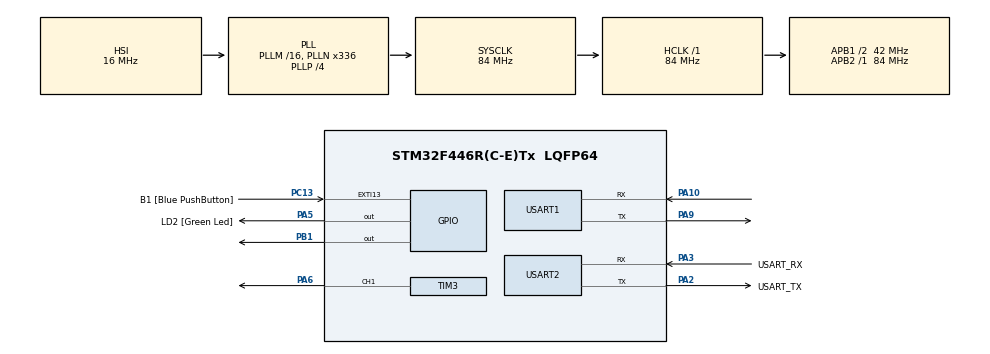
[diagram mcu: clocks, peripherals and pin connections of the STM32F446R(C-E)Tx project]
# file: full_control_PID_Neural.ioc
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Mcu.Family=STM32F4
Mcu.Name=STM32F446R(C-E)Tx
Mcu.Package=LQFP64
NVIC.PriorityGroup=NVIC_PRIORITYGROUP_0
NVIC.USART1_IRQn=true\:0\:0\:false\:false\:true\:true\:true\:true
NVIC.USART2_IRQn=true\:0\:0\:false\:false\:true\:true\:true\:true
PA10.Mode=Asynchronous
PA10.Signal=USART1_RX
PA13.GPIO_Label=TMS
PA13.Mode=Serial_Wire
PA13.Signal=SYS_JTMS-SWDIO
PA14.GPIO_Label=TCK
PA14.Mode=Serial_Wire
PA14.Signal=SYS_JTCK-SWCLK
PA2.GPIO_Label=USART_TX
PA2.Mode=Asynchronous
PA2.Signal=USART2_TX
PA3.GPIO_Label=USART_RX
PA3.Mode=Asynchronous
PA3.Signal=USART2_RX
PA5.GPIO_Label=LD2 [Green Led]
PA5.Signal=GPIO_Output
PA6.Signal=S_TIM3_CH1
PA9.Mode=Asynchronous
PA9.Signal=USART1_TX
PB1.Signal=GPIO_Output
PB3.GPIO_Label=SWO
PB3.Signal=SYS_JTDO-SWO
PC13.GPIO_Label=B1 [Blue PushButton]
PC13.GPIO_ModeDefaultEXTI=GPIO_MODE_IT_FALLING
PC13.Signal=GPXTI13
PC14-OSC32_IN.Mode=LSE-External-Oscillator
PC14-OSC32_IN.Signal=RCC_OSC32_IN
PC15-OSC32_OUT.Mode=LSE-External-Oscillator
PC15-OSC32_OUT.Signal=RCC_OSC32_OUT
PH0-OSC_IN.Mode=HSE-External-Oscillator
PH0-OSC_IN.Signal=RCC_OSC_IN
PH1-OSC_OUT.Mode=HSE-External-Oscillator
PH1-OSC_OUT.Signal=RCC_OSC_OUT
ProjectManager.HeapSize=0x200
ProjectManager.StackSize=0x400
ProjectManager.TargetToolchain=STM32CubeIDE
RCC.48MHZClocksFreq_Value=84000000
RCC.AHBFreq_Value=84000000
RCC.APB1CLKDivider=RCC_HCLK_DIV2
RCC.APB1Freq_Value=42000000
RCC.APB1TimFreq_Value=84000000
RCC.APB2Freq_Value=84000000
RCC.APB2TimFreq_Value=84000000
RCC.CortexFreq_Value=84000000
RCC.FLatency-AdvancedSettings=FLASH_LATENCY_2
RCC.HCLKFreq_Value=84000000
RCC.HSE_VALUE=8000000
RCC.HSI_VALUE=16000000
RCC.PLLN=336
RCC.PLLP=RCC_PLLP_DIV4
RCC.SYSCLKFreq_VALUE=84000000
RCC.SYSCLKSource=RCC_SYSCLKSOURCE_PLLCLK
RCC.USBFreq_Value=168000000
RCC.VCOOutputFreq_Value=336000000
SH.S_TIM3_CH1.0=TIM3_CH1,PWM Generation1 CH1
TIM3.Channel-PWM\ Generation1\ CH1=TIM_CHANNEL_1
TIM3.Period=999
TIM3.Prescaler=84 - 1
USART1.VirtualMode=VM_ASYNC
USART2.VirtualMode=VM_ASYNC
board=NUCLEO-F446RE

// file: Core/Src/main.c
/* USER CODE BEGIN Header */
/**
  ******************************************************************************
  * @file           : main.c
  * @brief          : Main program body
  ******************************************************************************
  * @attention
  *
  * Copyright (c) 2025 STMicroelectronics.
  * All rights reserved.
  *
  * This software is licensed under terms that can be found in the LICENSE file
  * in the root directory of this software component.
  * If no LICENSE file comes with this software, it is provided AS-IS.
  *
  ******************************************************************************
  */
/* USER CODE END Header */
#include "main.h"
#include <stdio.h>
#include <stdlib.h>
#include <string.h>
#include <math.h>

TIM_HandleTypeDef htim3;

UART_HandleTypeDef huart1;
UART_HandleTypeDef huart2;

/* USER CODE BEGIN PV */
uint8_t rx_index=0;
uint8_t rx_data[32];
uint8_t rx_buffer[32];
uint8_t transfer_cplt;
uint8_t data_received = 0;

#define PWM_PERIOD_MS 20.0f   // 20ms period (50Hz)
#define PWM_MIN 20.0f         // 20% duty cycle minimum
#define PWM_MAX 100.0f        // 100% duty cycle maximum

#define LEARNING_RATE 0.01f

float cmd_vel = 0.0f;           // Desired velocity (from Jetson)
float imu_vel = 0.0f;           // Current velocity (from Jetson)
float pwm_duty = 0.0f;         // Start with 50% duty cycle
float step_size = 1.0f;         // PWM adjustment step size
float tolerance = 0.5f;         // Acceptable velocity error (km/h)
float error=0.0f;
float more=0.0f;
float less=0.0f;
float equal=0.0f;

static char adjust[10]; // Global/static variable

// PID Constants (TUNE THESE)
float Kp = 1.5f;   // Proportional gain
float Ki = 0.01f;   // Integral gain
float Kd = 0.2f;   // Derivative gain

// PID variables
float prev_error = 0.0f;
float integral = 0.0f;

// NN Weights for Adaptive PID
float w1 = 0.5f, w2 = 0.3f, w3 = 0.2f;
float w4 = 0.4f, w5 = 0.3f, w6 = 0.2f;
float w7 = 0.6f, w8 = 0.4f, w9 = 0.2f;

float h1 = 0;
    float h2 = 0;
    float h3 = 0;
/* USER CODE END PV */

void SystemClock_Config(void);
static void MX_GPIO_Init(void);
static void MX_USART2_UART_Init(void);
static void MX_USART1_UART_Init(void);
static void MX_TIM3_Init(void);

/* USER CODE BEGIN PFP */
float compute_pid(float error);
void update_pid_gains(float error, float derivative, float integral);

void process_uart_data();
void set_pwm(float duty_cycle);

void set_direction(int direction); // Set motor direction (1 = forward, 0 = reverse)
/* USER CODE END PFP */

/* USER CODE BEGIN 0 */
/* ======= Fuzzy Membership Functions ======= */
// Neural Activation Function (Sigmoid)
float sigmoid(float x) {
    return 1.0f / (1.0f + expf(-x));
}

/* ======= PID Controller Function ======= */

// Compute PID Output
float compute_pid(float error) {
    float derivative = error - prev_error;
    integral += error;

    // Update PID gains dynamically using Neural Network
    update_pid_gains(error, derivative, integral);

    // Compute output
    float output = (Kp * error) + (Ki * integral) + (Kd * derivative);
    prev_error = error;

    return output;
}

// Neural Network to Adjust PID Gains
void update_pid_gains(float error, float derivative, float integral) {
    // NN Inputs (Normalized)
    float e_norm = error / 10.0f;
    float de_norm = derivative / 10.0f;
    float Ie_norm = integral / 100.0f;

    // Hidden Layer Neuron Outputs
     h1 = sigmoid(w1 * e_norm + w2 * de_norm + w3 * Ie_norm);
     h2 = sigmoid(w4 * e_norm + w5 * de_norm + w6 * Ie_norm);
     h3 = sigmoid(w7 * e_norm + w8 * de_norm + w9 * Ie_norm);

    // Output Layer (PID Gains)
    Kp = 2.0f * h1;  // Dynamic Kp
    Ki = 0.05f * h2; // Dynamic Ki
    Kd = 0.1f * h3;  // Dynamic Kd

    // Update Weights Using Gradient Descent
    float learning_rate = LEARNING_RATE;
    w1 += learning_rate * error * h1 * (1 - h1);
    w2 += learning_rate * derivative * h2 * (1 - h2);
    w3 += learning_rate * integral * h3 * (1 - h3);
    w4 += learning_rate * error * h1 * (1 - h1);
    w5 += learning_rate * derivative * h2 * (1 - h2);
    w6 += learning_rate * integral * h3 * (1 - h3);
    w7 += learning_rate * error * h1 * (1 - h1);
    w8 += learning_rate * derivative * h2 * (1 - h2);
    w9 += learning_rate * integral * h3 * (1 - h3);
}

void process_uart_data() {
    char *cmd_token = strtok((char *)rx_buffer, ",");
    char *imu_token = strtok(NULL, ",");

    if (cmd_token && imu_token) {
        cmd_vel = atof(cmd_token);
        imu_vel = atof(imu_token);
    }
    memset(rx_buffer, 0, 32);
}

void set_pwm(float duty_cycle) {
	if (duty_cycle < PWM_MIN) duty_cycle = PWM_MIN;
	    if (duty_cycle > PWM_MAX) duty_cycle = PWM_MAX;

    __HAL_TIM_SET_COMPARE(&htim3, TIM_CHANNEL_1, (htim3.Init.Period * duty_cycle) / 100);
}

void set_direction(int direction) {
    // Direction control: 0 = reverse, 1 = forward
    if (direction == 1) {
        HAL_GPIO_WritePin(GPIOB, GPIO_PIN_1, GPIO_PIN_RESET);  // DIR pin LOW for forward
    } else {
        HAL_GPIO_WritePin(GPIOB, GPIO_PIN_1, GPIO_PIN_SET);    // DIR pin HIGH for reverse
    }
}

/* USER CODE END 0 */

int main(void)
{

  /* MCU Configuration--------------------------------------------------------*/

  /* Reset of all peripherals, Initializes the Flash interface and the Systick. */
  HAL_Init();

  /* Configure the system clock */
  SystemClock_Config();

  /* Initialize all configured peripherals */
  MX_GPIO_Init();
  MX_USART2_UART_Init();
  MX_USART1_UART_Init();
  MX_TIM3_Init();
  /* USER CODE BEGIN 2 */

//HAL_UART_Receive_IT(&huart1, rx_data, 32);
HAL_UART_Receive_IT(&huart1, &rx_data[rx_index], 1);
HAL_TIM_PWM_Start(&htim3, TIM_CHANNEL_1);  // Start PWM
  /* USER CODE END 2 */

  /* Infinite loop */
  /* USER CODE BEGIN WHILE */
while (1)
  {
	  if (data_received) {
	              process_uart_data();
	              data_received = 0;
	          }    /* USER CODE END WHILE */
	  //float error = cmd_vel - imu_vel;

	  	  	  error = fabs(cmd_vel - imu_vel);

	          // Compute PWM using Fuzzy Logic
	          //pwm_duty = fuzzy_pwm(error);
	  	  	  pwm_duty = fabs(compute_pid(error));  // Take absolute value of PID output

	          // Set direction (accelerate or decelerate)
	          if (cmd_vel > imu_vel) {
	              set_direction(0);
	              strcpy(adjust, "0.2\n");
	              	      HAL_Delay(100);
	              	      HAL_UART_Transmit_IT(&huart1, (uint8_t *)adjust, strlen(adjust));
	              	      HAL_Delay(100);
	          } else if (cmd_vel < imu_vel) {
	              set_direction(1);
	              strcpy(adjust, "-0.2\n");
	              	      HAL_Delay(100);
	              	      HAL_UART_Transmit_IT(&huart1, (uint8_t *)adjust, strlen(adjust));
	              	      HAL_Delay(100);
	          }
	          else {  // When cmd_vel == imu_vel
	          	      pwm_duty = 0.0f;  // Stop actuator
	          	    __HAL_TIM_SET_COMPARE(&htim3, TIM_CHANNEL_1, (htim3.Init.Period * pwm_duty) / 100);

	          	      // Send 0 to stop imu_vel changes
	          	      strcpy(adjust, "0\n");
	          	      HAL_Delay(10);
	          	      HAL_UART_Transmit_IT(&huart1, (uint8_t *)adjust, strlen(adjust));
	          	      HAL_Delay(10);
	          	  }

	          // Apply PWM
	          set_pwm(pwm_duty);

  }
}

void SystemClock_Config(void)
{
  RCC_OscInitTypeDef RCC_OscInitStruct = {0};
  RCC_ClkInitTypeDef RCC_ClkInitStruct = {0};

  /** Configure the main internal regulator output voltage
  */
  __HAL_RCC_PWR_CLK_ENABLE();
  __HAL_PWR_VOLTAGESCALING_CONFIG(PWR_REGULATOR_VOLTAGE_SCALE3);

  /** Initializes the RCC Oscillators according to the specified parameters
  * in the RCC_OscInitTypeDef structure.
  */
  RCC_OscInitStruct.OscillatorType = RCC_OSCILLATORTYPE_HSI;
  RCC_OscInitStruct.HSIState = RCC_HSI_ON;
  RCC_OscInitStruct.HSICalibrationValue = RCC_HSICALIBRATION_DEFAULT;
  RCC_OscInitStruct.PLL.PLLState = RCC_PLL_ON;
  RCC_OscInitStruct.PLL.PLLSource = RCC_PLLSOURCE_HSI;
  RCC_OscInitStruct.PLL.PLLM = 16;
  RCC_OscInitStruct.PLL.PLLN = 336;
  RCC_OscInitStruct.PLL.PLLP = RCC_PLLP_DIV4;
  RCC_OscInitStruct.PLL.PLLQ = 2;
  RCC_OscInitStruct.PLL.PLLR = 2;
  if (HAL_RCC_OscConfig(&RCC_OscInitStruct) != HAL_OK)
  {
    Error_Handler();
  }

  /** Initializes the CPU, AHB and APB buses clocks
  */
  RCC_ClkInitStruct.ClockType = RCC_CLOCKTYPE_HCLK|RCC_CLOCKTYPE_SYSCLK
                              |RCC_CLOCKTYPE_PCLK1|RCC_CLOCKTYPE_PCLK2;
  RCC_ClkInitStruct.SYSCLKSource = RCC_SYSCLKSOURCE_PLLCLK;
  RCC_ClkInitStruct.AHBCLKDivider = RCC_SYSCLK_DIV1;
  RCC_ClkInitStruct.APB1CLKDivider = RCC_HCLK_DIV2;
  RCC_ClkInitStruct.APB2CLKDivider = RCC_HCLK_DIV1;

  if (HAL_RCC_ClockConfig(&RCC_ClkInitStruct, FLASH_LATENCY_2) != HAL_OK)
  {
    Error_Handler();
  }
}

static void MX_TIM3_Init(void)
{

  TIM_MasterConfigTypeDef sMasterConfig = {0};
  TIM_OC_InitTypeDef sConfigOC = {0};

  htim3.Instance = TIM3;
  htim3.Init.Prescaler = 84 - 1;
  htim3.Init.CounterMode = TIM_COUNTERMODE_UP;
  htim3.Init.Period = 999;
  htim3.Init.ClockDivision = TIM_CLOCKDIVISION_DIV1;
  htim3.Init.AutoReloadPreload = TIM_AUTORELOAD_PRELOAD_DISABLE;
  if (HAL_TIM_PWM_Init(&htim3) != HAL_OK)
  {
    Error_Handler();
  }
  sMasterConfig.MasterOutputTrigger = TIM_TRGO_RESET;
  sMasterConfig.MasterSlaveMode = TIM_MASTERSLAVEMODE_DISABLE;
  if (HAL_TIMEx_MasterConfigSynchronization(&htim3, &sMasterConfig) != HAL_OK)
  {
    Error_Handler();
  }
  sConfigOC.OCMode = TIM_OCMODE_PWM1;
  sConfigOC.Pulse = 0;
  sConfigOC.OCPolarity = TIM_OCPOLARITY_HIGH;
  sConfigOC.OCFastMode = TIM_OCFAST_DISABLE;
  if (HAL_TIM_PWM_ConfigChannel(&htim3, &sConfigOC, TIM_CHANNEL_1) != HAL_OK)
  {
    Error_Handler();
  }
  HAL_TIM_MspPostInit(&htim3);

}

static void MX_USART1_UART_Init(void)
{

  huart1.Instance = USART1;
  huart1.Init.BaudRate = 115200;
  huart1.Init.WordLength = UART_WORDLENGTH_8B;
  huart1.Init.StopBits = UART_STOPBITS_1;
  huart1.Init.Parity = UART_PARITY_NONE;
  huart1.Init.Mode = UART_MODE_TX_RX;
  huart1.Init.HwFlowCtl = UART_HWCONTROL_NONE;
  huart1.Init.OverSampling = UART_OVERSAMPLING_16;
  if (HAL_UART_Init(&huart1) != HAL_OK)
  {
    Error_Handler();
  }

}

static void MX_USART2_UART_Init(void)
{

  huart2.Instance = USART2;
  huart2.Init.BaudRate = 115200;
  huart2.Init.WordLength = UART_WORDLENGTH_8B;
  huart2.Init.StopBits = UART_STOPBITS_1;
  huart2.Init.Parity = UART_PARITY_NONE;
  huart2.Init.Mode = UART_MODE_TX_RX;
  huart2.Init.HwFlowCtl = UART_HWCONTROL_NONE;
  huart2.Init.OverSampling = UART_OVERSAMPLING_16;
  if (HAL_UART_Init(&huart2) != HAL_OK)
  {
    Error_Handler();
  }

}

static void MX_GPIO_Init(void)
{
  GPIO_InitTypeDef GPIO_InitStruct = {0};

  /* GPIO Ports Clock Enable */
  __HAL_RCC_GPIOC_CLK_ENABLE();
  __HAL_RCC_GPIOH_CLK_ENABLE();
  __HAL_RCC_GPIOA_CLK_ENABLE();
  __HAL_RCC_GPIOB_CLK_ENABLE();

  /*Configure GPIO pin Output Level */
  HAL_GPIO_WritePin(LD2_GPIO_Port, LD2_Pin, GPIO_PIN_RESET);

  /*Configure GPIO pin Output Level */
  HAL_GPIO_WritePin(GPIOB, GPIO_PIN_1, GPIO_PIN_RESET);

  /*Configure GPIO pin : B1_Pin */
  GPIO_InitStruct.Pin = B1_Pin;
  GPIO_InitStruct.Mode = GPIO_MODE_IT_FALLING;
  GPIO_InitStruct.Pull = GPIO_NOPULL;
  HAL_GPIO_Init(B1_GPIO_Port, &GPIO_InitStruct);

  /*Configure GPIO pin : LD2_Pin */
  GPIO_InitStruct.Pin = LD2_Pin;
  GPIO_InitStruct.Mode = GPIO_MODE_OUTPUT_PP;
  GPIO_InitStruct.Pull = GPIO_NOPULL;
  GPIO_InitStruct.Speed = GPIO_SPEED_FREQ_LOW;
  HAL_GPIO_Init(LD2_GPIO_Port, &GPIO_InitStruct);

  /*Configure GPIO pin : PB1 */
  GPIO_InitStruct.Pin = GPIO_PIN_1;
  GPIO_InitStruct.Mode = GPIO_MODE_OUTPUT_PP;
  GPIO_InitStruct.Pull = GPIO_NOPULL;
  GPIO_InitStruct.Speed = GPIO_SPEED_FREQ_LOW;
  HAL_GPIO_Init(GPIOB, &GPIO_InitStruct);

}

/* USER CODE BEGIN 4 */
void HAL_UART_RxCpltCallback(UART_HandleTypeDef *huart) {
    if (huart->Instance == USART1) {
        if (rx_data[0] == '\n') {
            rx_buffer[rx_index] = '\0';
            data_received = 1;
            rx_index = 0;
        } else {
            rx_buffer[rx_index++] = rx_data[0];
            if (rx_index >= 32) rx_index = 0;
        }
        HAL_UART_Receive_IT(&huart1, &rx_data[0], 1);
    }
}

/* USER CODE END 4 */

void Error_Handler(void)
{
  __disable_irq();
  while (1)
  {
  }
}
